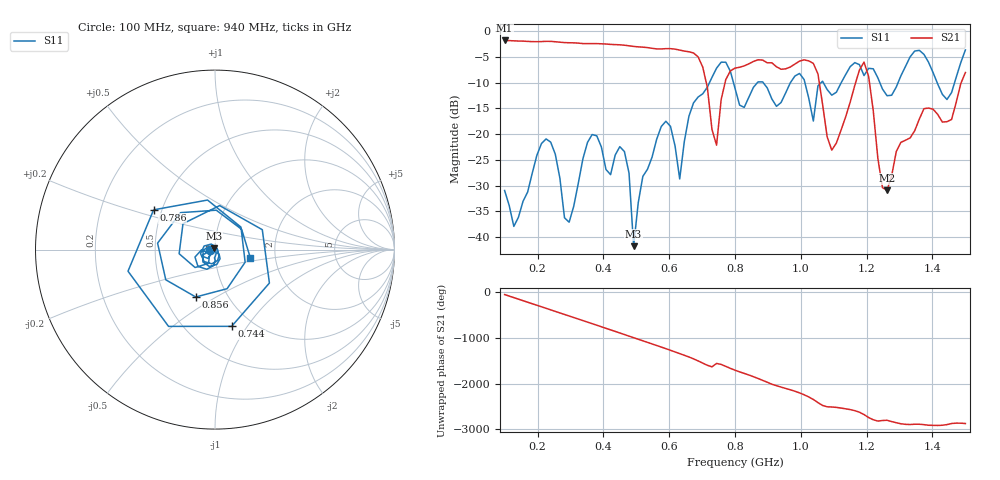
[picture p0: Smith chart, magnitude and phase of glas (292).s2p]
! NanoVNA-App
! Date: 2025-09-25 15:57:45
! Start: 100MHz Stop: 1,5GHz Points: 101
! S-Parameter data: F S11 S21 S12 S22
# Hz S RI R 50
!  Frequency  S11_Real  S11_Imag  S21_Real  S21_Imag  S12_Real  S12_Imag  S22_Real  S22_Imag
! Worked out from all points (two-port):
!   101 points, 100 MHz to 1.5 GHz, reference 50 ohm
!   highest |S21| = -1.80 dB at 100 MHz (marker M1); lowest = -30.9 dB at 1.262 GHz (marker M2)
!   |S21| within 3 dB of the highest: start of sweep to 684.3 MHz
!   lowest |S11| = -41.8 dB at 492 MHz (marker M3), VSWR 1.02, Z = 49.5 + j0.628 ohm
!   |S11| at or under -10 dB: start of sweep to 722.5 MHz; 795.4 MHz to 868 MHz (72.63 MHz wide, 8.73 % of centre); 885.8 MHz to 968.3 MHz (82.47 MHz wide, 8.9 % of centre) (the widest 3 of 7)
!   S12 and S22 are empty: the file has one direction only
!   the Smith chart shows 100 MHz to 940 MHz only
!   S11 on the Smith chart (normalised r, x): 100 MHz: 0.95, -0.01; 744 MHz: 0.80, -0.85; 786 MHz: 0.45, +0.24; 856 MHz: 0.71, -0.41; 940 MHz: 1.48, -0.15
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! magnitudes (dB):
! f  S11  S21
! 100 MHz  -30.9  -1.8
! 128 MHz  -37.9  -1.9
! 226 MHz  -20.9  -2.0
! 296 MHz  -37.1  -2.2
! 338 MHz  -24.8  -2.4
! 464 MHz  -23.4  -2.7
! 492 MHz  -41.8  -3.0
! 576 MHz  -18.5  -3.5
! 632 MHz  -28.7  -3.7
! 702 MHz  -12.2  -7.0
! 744 MHz  -7.2  -22.1
! 786 MHz  -7.8  -7.7
! 800 MHz  -11.1  -7.2
! 856 MHz  -10.9  -5.9
! 940 MHz  -13.8  -7.4
! 996 MHz  -8.2  -5.8
! 1.038 GHz  -17.4  -6.3
! 1.094 GHz  -12.4  -23.1
! 1.192 GHz  -8.6  -6.0
! 1.262 GHz  -12.5  -30.9
! 1.276 GHz  -12.4  -28.1
! 1.5 GHz  -3.6  -8.0
